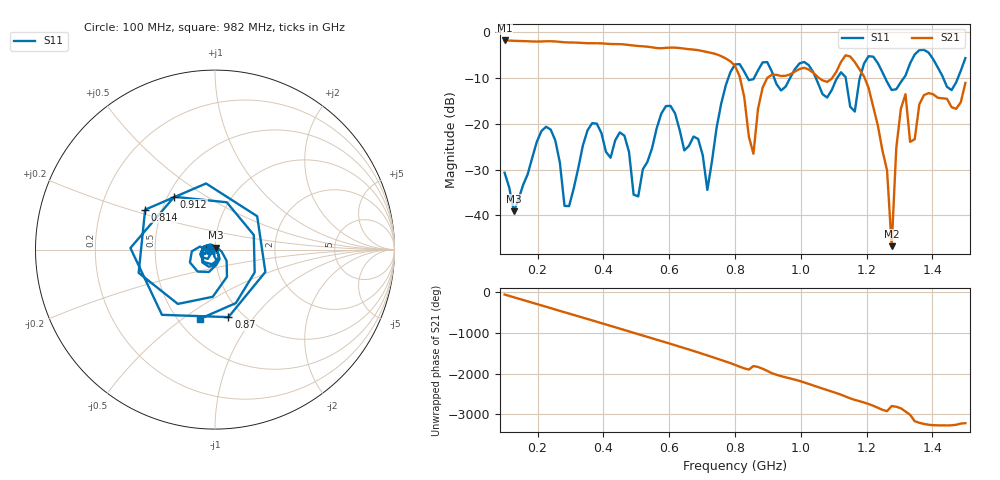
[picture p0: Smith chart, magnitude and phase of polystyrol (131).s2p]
! NanoVNA-App
! Date: 2025-09-25 15:30:54
! Start: 100MHz Stop: 1,5GHz Points: 101
! S-Parameter data: F S11 S21 S12 S22
# Hz S RI R 50
!  Frequency  S11_Real  S11_Imag  S21_Real  S21_Imag  S12_Real  S12_Imag  S22_Real  S22_Imag
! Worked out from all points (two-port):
!   101 points, 100 MHz to 1.5 GHz, reference 50 ohm
!   highest |S21| = -1.80 dB at 100 MHz (marker M1); lowest = -46.7 dB at 1.276 GHz (marker M2)
!   |S21| within 3 dB of the highest: start of sweep to 742.8 MHz
!   lowest |S11| = -39.1 dB at 128 MHz (marker M3), VSWR 1.02, Z = 50.3 + j1.06 ohm
!   |S11| at or under -10 dB: start of sweep to 779.7 MHz; 1.046 GHz to 1.11 GHz (64.89 MHz wide, 6.02 % of centre); 1.256 GHz to 1.313 GHz (56.45 MHz wide, 4.39 % of centre) (the widest 3 of 7)
!   S12 and S22 are empty: the file has one direction only
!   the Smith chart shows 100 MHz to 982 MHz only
!   S11 on the Smith chart (normalised r, x): 100 MHz: 0.94, -0.01; 814 MHz: 0.40, +0.22; 870 MHz: 0.85, -0.75; 912 MHz: 0.54, +0.37; 982 MHz: 0.64, -0.58
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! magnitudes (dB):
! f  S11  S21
! 100 MHz  -30.7  -1.8
! 128 MHz  -39.1  -1.9
! 212 MHz  -21.6  -2.0
! 282 MHz  -37.9  -2.2
! 338 MHz  -24.7  -2.3
! 464 MHz  -22.6  -2.7
! 506 MHz  -35.9  -3.0
! 576 MHz  -17.8  -3.5
! 716 MHz  -34.5  -4.3
! 800 MHz  -7.0  -7.3
! 814 MHz  -7.0  -9.6
! 856 MHz  -10.3  -26.5
! 870 MHz  -8.3  -16.7
! 912 MHz  -8.6  -9.3
! 982 MHz  -8.1  -8.6
! 1.038 GHz  -8.8  -8.9
! 1.192 GHz  -6.9  -9.6
! 1.262 GHz  -10.8  -30.2
! 1.276 GHz  -12.6  -46.7
! 1.318 GHz  -9.5  -13.5
! 1.332 GHz  -6.8  -23.9
! 1.5 GHz  -5.7  -11.1
